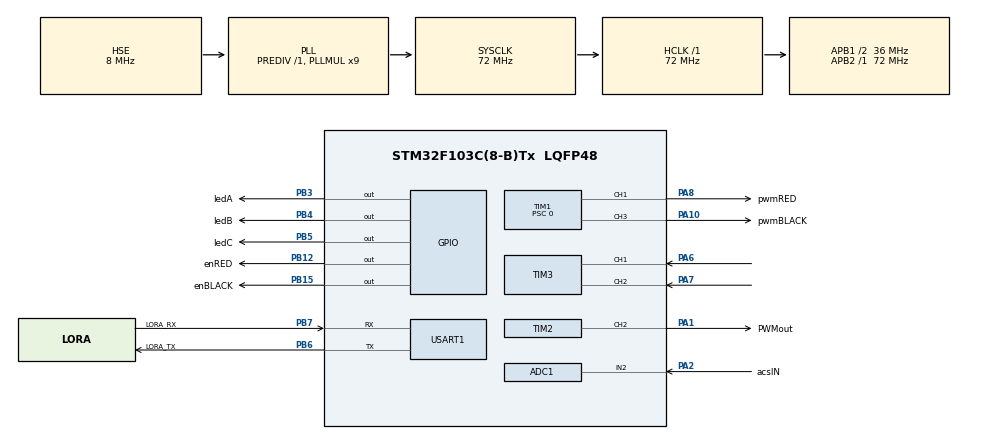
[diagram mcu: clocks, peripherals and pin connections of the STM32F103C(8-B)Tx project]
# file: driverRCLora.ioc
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ADC1.Channel-0\#ChannelRegularConversion=ADC_CHANNEL_VREFINT
ADC1.Channel-1\#ChannelRegularConversion=ADC_CHANNEL_TEMPSENSOR
ADC1.Channel-2\#ChannelRegularConversion=ADC_CHANNEL_2
ADC1.ContinuousConvMode=ENABLE
ADC1.NbrOfConversion=3
ADC1.NbrOfConversionFlag=1
ADC1.Rank-0\#ChannelRegularConversion=1
ADC1.Rank-1\#ChannelRegularConversion=2
ADC1.Rank-2\#ChannelRegularConversion=3
ADC1.SamplingTime-0\#ChannelRegularConversion=ADC_SAMPLETIME_239CYCLES_5
ADC1.SamplingTime-1\#ChannelRegularConversion=ADC_SAMPLETIME_239CYCLES_5
ADC1.SamplingTime-2\#ChannelRegularConversion=ADC_SAMPLETIME_239CYCLES_5
ADC1.master=1
Dma.ADC1.0.Direction=DMA_PERIPH_TO_MEMORY
Dma.ADC1.0.Instance=DMA1_Channel1
Dma.ADC1.0.MemDataAlignment=DMA_MDATAALIGN_WORD
Dma.ADC1.0.MemInc=DMA_MINC_ENABLE
Dma.ADC1.0.Mode=DMA_CIRCULAR
Dma.ADC1.0.PeriphDataAlignment=DMA_PDATAALIGN_WORD
Dma.ADC1.0.PeriphInc=DMA_PINC_DISABLE
Dma.ADC1.0.Priority=DMA_PRIORITY_LOW
Dma.Request0=ADC1
Dma.Request1=TIM1_CH1
Dma.Request2=TIM1_CH3
Dma.Request3=TIM2_CH2/CH4
Dma.Request4=USART1_RX
Dma.TIM1_CH1.1.Direction=DMA_MEMORY_TO_PERIPH
Dma.TIM1_CH1.1.Instance=DMA1_Channel2
Dma.TIM1_CH1.1.MemDataAlignment=DMA_MDATAALIGN_WORD
Dma.TIM1_CH1.1.MemInc=DMA_MINC_ENABLE
Dma.TIM1_CH1.1.Mode=DMA_CIRCULAR
Dma.TIM1_CH1.1.PeriphDataAlignment=DMA_PDATAALIGN_HALFWORD
Dma.TIM1_CH1.1.PeriphInc=DMA_PINC_DISABLE
Dma.TIM1_CH1.1.Priority=DMA_PRIORITY_LOW
Dma.TIM1_CH3.2.Direction=DMA_MEMORY_TO_PERIPH
Dma.TIM1_CH3.2.Instance=DMA1_Channel6
Dma.TIM1_CH3.2.MemDataAlignment=DMA_MDATAALIGN_WORD
Dma.TIM1_CH3.2.MemInc=DMA_MINC_ENABLE
Dma.TIM1_CH3.2.Mode=DMA_CIRCULAR
Dma.TIM1_CH3.2.PeriphDataAlignment=DMA_PDATAALIGN_HALFWORD
Dma.TIM1_CH3.2.PeriphInc=DMA_PINC_DISABLE
Dma.TIM1_CH3.2.Priority=DMA_PRIORITY_LOW
Dma.TIM2_CH2/CH4.3.Direction=DMA_MEMORY_TO_PERIPH
Dma.TIM2_CH2/CH4.3.Instance=DMA1_Channel7
Dma.TIM2_CH2/CH4.3.MemDataAlignment=DMA_MDATAALIGN_WORD
Dma.TIM2_CH2/CH4.3.MemInc=DMA_MINC_ENABLE
Dma.TIM2_CH2/CH4.3.Mode=DMA_CIRCULAR
Dma.TIM2_CH2/CH4.3.PeriphDataAlignment=DMA_PDATAALIGN_HALFWORD
Dma.TIM2_CH2/CH4.3.PeriphInc=DMA_PINC_DISABLE
Dma.TIM2_CH2/CH4.3.Priority=DMA_PRIORITY_LOW
Dma.USART1_RX.4.Direction=DMA_PERIPH_TO_MEMORY
Dma.USART1_RX.4.Instance=DMA1_Channel5
Dma.USART1_RX.4.MemDataAlignment=DMA_MDATAALIGN_BYTE
Dma.USART1_RX.4.MemInc=DMA_MINC_ENABLE
Dma.USART1_RX.4.Mode=DMA_CIRCULAR
Dma.USART1_RX.4.PeriphDataAlignment=DMA_PDATAALIGN_BYTE
Dma.USART1_RX.4.PeriphInc=DMA_PINC_DISABLE
Dma.USART1_RX.4.Priority=DMA_PRIORITY_LOW
Mcu.Family=STM32F1
Mcu.Name=STM32F103C(8-B)Tx
Mcu.Package=LQFP48
NVIC.DMA1_Channel1_IRQn=true\:0\:0\:false\:false\:true\:false\:true\:true
NVIC.DMA1_Channel2_IRQn=true\:0\:0\:false\:false\:true\:false\:true\:true
NVIC.DMA1_Channel5_IRQn=true\:0\:0\:false\:false\:true\:false\:true\:true
NVIC.DMA1_Channel6_IRQn=true\:0\:0\:false\:false\:true\:false\:true\:true
NVIC.DMA1_Channel7_IRQn=true\:0\:0\:false\:false\:true\:false\:true\:true
NVIC.PriorityGroup=NVIC_PRIORITYGROUP_4
NVIC.TIM4_IRQn=true\:2\:0\:true\:false\:true\:true\:true\:true
NVIC.USART1_IRQn=true\:0\:0\:false\:false\:true\:true\:true\:true
NimaLTD.I-CUBE-EE.3.2.2.DriverJjEE=true
PA1.GPIO_Label=PWMout
PA1.GPIO_Speed=GPIO_SPEED_FREQ_HIGH
PA1.Signal=S_TIM2_CH2
PA10.GPIO_Label=pwmBLACK
PA10.GPIO_Speed=GPIO_SPEED_FREQ_HIGH
PA10.Signal=S_TIM1_CH3
PA13.Mode=Serial_Wire
PA13.Signal=SYS_JTMS-SWDIO
PA14.Mode=Serial_Wire
PA14.Signal=SYS_JTCK-SWCLK
PA2.GPIO_Label=acsIN
PA2.Signal=ADCx_IN2
PA6.Signal=S_TIM3_CH1
PA7.Signal=S_TIM3_CH2
PA8.GPIO_Label=pwmRED
PA8.GPIO_Speed=GPIO_SPEED_FREQ_HIGH
PA8.Signal=S_TIM1_CH1
PB10.GPIO_Label=ADXL_SCL
PB10.Signal=I2C2_SCL
PB11.GPIO_Label=ADXL_SDA
PB11.Signal=I2C2_SDA
PB12.GPIO_Label=enRED
PB12.GPIO_Speed=GPIO_SPEED_FREQ_HIGH
PB12.Signal=GPIO_Output
PB15.GPIO_Label=enBLACK
PB15.GPIO_Speed=GPIO_SPEED_FREQ_HIGH
PB15.Signal=GPIO_Output
PB3.GPIO_Label=ledA
PB3.GPIO_PuPd=GPIO_PULLDOWN
PB3.GPIO_Speed=GPIO_SPEED_FREQ_HIGH
PB3.Signal=GPIO_Output
PB4.GPIO_Label=ledB
PB4.GPIO_PuPd=GPIO_PULLDOWN
PB4.GPIO_Speed=GPIO_SPEED_FREQ_HIGH
PB4.Signal=GPIO_Output
PB5.GPIO_Label=ledC
PB5.GPIO_PuPd=GPIO_PULLDOWN
PB5.GPIO_Speed=GPIO_SPEED_FREQ_HIGH
PB5.Signal=GPIO_Output
PB6.GPIO_Label=LORA_TX
PB6.Mode=Asynchronous
PB6.Signal=USART1_TX
PB7.GPIO_Label=LORA_RX
PB7.Mode=Asynchronous
PB7.Signal=USART1_RX
PD0-OSC_IN.Mode=HSE-External-Oscillator
PD0-OSC_IN.Signal=RCC_OSC_IN
PD1-OSC_OUT.Mode=HSE-External-Oscillator
PD1-OSC_OUT.Signal=RCC_OSC_OUT
ProjectManager.HeapSize=0x200
ProjectManager.StackSize=0x400
ProjectManager.TargetToolchain=STM32CubeIDE
RCC.ADCPresc=RCC_ADCPCLK2_DIV8
RCC.AHBFreq_Value=72000000
RCC.APB1CLKDivider=RCC_HCLK_DIV2
RCC.APB1Freq_Value=36000000
RCC.APB1TimFreq_Value=72000000
RCC.APB2Freq_Value=72000000
RCC.APB2TimFreq_Value=72000000
RCC.HCLKFreq_Value=72000000
RCC.PLLMUL=RCC_PLL_MUL9
RCC.PLLSourceVirtual=RCC_PLLSOURCE_HSE
RCC.SYSCLKFreq_VALUE=72000000
RCC.SYSCLKSource=RCC_SYSCLKSOURCE_PLLCLK
RCC.USBFreq_Value=72000000
SH.ADCx_IN2.0=ADC1_IN2,IN2
SH.S_TIM1_CH1.0=TIM1_CH1,PWM Generation1 CH1
SH.S_TIM1_CH3.0=TIM1_CH3,PWM Generation3 CH3
SH.S_TIM2_CH2.0=TIM2_CH2,PWM Generation2 CH2
SH.S_TIM3_CH1.0=TIM3_CH1,Encoder_Interface
SH.S_TIM3_CH2.0=TIM3_CH2,Encoder_Interface
TIM1.Channel-PWM\ Generation1\ CH1=TIM_CHANNEL_1
TIM1.Channel-PWM\ Generation3\ CH3=TIM_CHANNEL_3
TIM1.CounterMode=TIM_COUNTERMODE_UP
TIM1.Period=1999
TIM1.Prescaler=0
TIM2.Channel-PWM\ Generation2\ CH2=TIM_CHANNEL_2
TIM2.Period=20000-1
TIM2.Prescaler=72-1
TIM3.AutoReloadPreload=TIM_AUTORELOAD_PRELOAD_ENABLE
TIM3.EncoderMode=TIM_ENCODERMODE_TI12
TIM3.IC1Filter=2
TIM4.Period=10000-1
TIM4.Prescaler=72-1
USART1.VirtualMode=VM_ASYNC
VP_ADC1_TempSens_Input.Mode=IN-TempSens
VP_ADC1_Vref_Input.Mode=IN-Vrefint
VP_NimaLTD.I-CUBE-EE_VS_DriverJjEE_1.0.0_3.2.2.Mode=DriverJjEE
VP_TIM1_VS_ClockSourceINT.Mode=Internal
VP_TIM2_VS_ClockSourceINT.Mode=Internal
VP_TIM4_VS_ClockSourceINT.Mode=Internal
board=custom

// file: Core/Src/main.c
/* USER CODE BEGIN Header */
/**
  ******************************************************************************
  * @file           : main.c
  * @brief          : Main program body
  ******************************************************************************
  * @attention
  *
  * <h2><center>&copy; Copyright (c) 2025 STMicroelectronics.
  * All rights reserved.</center></h2>
  *
  * This software component is licensed by ST under Ultimate Liberty license
  * SLA0044, the "License"; You may not use this file except in compliance with
  * the License. You may obtain a copy of the License at:
  *                             www.st.com/SLA0044
  *
  ******************************************************************************
  */
/* USER CODE END Header */
#include "main.h"

/* USER CODE BEGIN Includes */
#include <string.h>
#include <math.h>
#include "myDef.h"
#include <stdlib.h>
/* USER CODE END Includes */

ADC_HandleTypeDef hadc1;
DMA_HandleTypeDef hdma_adc1;

TIM_HandleTypeDef htim1;
TIM_HandleTypeDef htim2;
TIM_HandleTypeDef htim3;
TIM_HandleTypeDef htim4;
DMA_HandleTypeDef hdma_tim1_ch1;
DMA_HandleTypeDef hdma_tim1_ch3;
DMA_HandleTypeDef hdma_tim2_ch2_ch4;

UART_HandleTypeDef huart1;
DMA_HandleTypeDef hdma_usart1_rx;

void SystemClock_Config(void);
static void MX_GPIO_Init(void);
static void MX_DMA_Init(void);
static void MX_TIM1_Init(void);
static void MX_TIM2_Init(void);
static void MX_ADC1_Init(void);
static void MX_TIM4_Init(void);
static void MX_USART1_UART_Init(void);
static void MX_TIM3_Init(void);

/* USER CODE BEGIN 0 */
/**
 * @brief Re-maps a number from one range to another.
 * @param x The number to be mapped.
 * @param in_min The lower bound of the input range.
 * @param in_max The upper bound of the input range.
 * @param out_min The lower bound of the output range.
 * @param out_max The upper bound of the output range.
 * @return The mapped value.
 */
long map(long x, long in_min, long in_max, long out_min, long out_max) {
  return (x - in_min) * (out_max - out_min) / (in_max - in_min) + out_min;
}

/**
 * @brief Re-maps a floating-point number from one range to another.
 * @param x The number to be mapped.
 * @param in_min The lower bound of the input range.
 * @param in_max The upper bound of the input range.
 * @param out_min The lower bound of the output range.
 * @param out_max The upper bound of the output range.
 * @return The mapped floating-point value.
 */
float mapf(float x, float in_min, float in_max, float out_min, float out_max) {
  return (x - in_min) * (out_max - out_min) / (in_max - in_min) + out_min;
}

float ComputePIDadpt(volatile PID_t *pid, const float measuredValue, const float dt) {
	// Calculate error
	float error = pid->setPoint - measuredValue;

	// Deadband (Optional: Prevents small oscillations)
	if (fabsf(error) < pid->deadband) {
		error = 0.0f;
	}

	// Proportional term
	float Pout = pid->Kp * error;

	// Integral term (PI and PID modes)
	float Iout = 0.0f;
	if ((pid->Ki > 0.0f)) {
		pid->integral += error * dt;
		Iout = pid->Ki * pid->integral;

	}

	// Derivative term (PD and PID modes)
	float Dout = 0.0f;
	if ((pid->Kd > 0.0f)) {
		float derivative = (error - pid->prevError) / dt;
		Dout = pid->Kd * derivative;
	}

	// Compute total output
	float output = Pout + Iout + Dout;

	// Apply output limits
	if (output > pid->maxOutput - pid->minOutput) {
		pid->integral = pid->lastIntegral;
		output = pid->maxOutput - pid->minOutput;
	} else {
		pid->lastIntegral = pid->integral;
	}
	if (output < 0)
		output = 0;

	// Store values for next iteration
	pid->prevError = error;

	return output + pid->minOutput;
}

void mootorSpeed(int16_t _speed) {
	if (_speed > motorSpeedMax) {
		_speed = motorSpeedMax;
	}
	if (_speed < motorSpeedMin) {
		_speed = motorSpeedMin;
	}

	if (_speed > 0) {
		motorMode = mMode_For;
		Speed = _speed;

	} else if (_speed < 0) {
		motorMode = mMode_back;
		Speed = _speed;

	} else if (_speed == 0) {
//		if (mSVelocity > brakeThrshld) {
//			motorMode = mMode_breaking;
//			breakingPower = _speed;
//			Speed = 0;
//		} else if (mSVelocity < brakeThrshldLow) {
			Speed = 0;
			motorMode = mMode_Stop;
//		}
	}
}

void HAL_TIM_PeriodElapsedCallback(TIM_HandleTypeDef *htim) {
	if (htim == &htim4) { //timer 100hz
		uint32_t currCNT = TIM3->CNT;
		int32_t delta = (int32_t) (currCNT - lastCNT); // menghindari overflow/underflow
		lastCNT = currCNT;
		dump1 = (float) delta / -28.0f;
		rps = dump1 / 0.01f;
		rpmMotor = rps * 60.0f;
		rpsWheel = rps / 10.28f;
		mmSVelocity = rpsWheel * 329.86722f;
		mSVelocity = mmSVelocity / 1000.0f;

		if (PID.setPoint == 0.0f) {
			PID.integral = 0.0f;
			PID.prevError = 0.0f;
			PID.lastIntegral = 0.0f;
			mootorSpeed(0);
		} else {

			if (receivedDataControl.dummy) {
				mootorSpeed(-(int16_t)ComputePIDadpt(&PID, -mSVelocity, 0.01f));
			} else {
				mootorSpeed((int16_t) ComputePIDadpt(&PID, mSVelocity, 0.01f));
			}

//			mootorSpeed((int16_t)ComputePIDadpt(&PID, mSVelocity, 0.01f));
		}
	}
}

void motorLOOP(void) {

//	if (Speed == 0) {
//		motorMode = zeroMode;
//	} else
//	if(Speed > 0){
//		motorMode = mMode_For;
//	}else if (Speed < 0) {
//		motorMode = mMode_back;
//	} else{
//		motorMode = mMode_Stop;
//	}

	switch (motorMode) {
	case mMode_Stop:
		val_pwmRED = 0;
		val_pwmBLACK = 0;

		clrIO(enBLACK_GPIO_Port,enBLACK_Pin);
		clrIO(enRED_GPIO_Port,enRED_Pin);
		break;
	case mMode_For:
		val_pwmRED = abs(Speed);
		val_pwmBLACK = 0;

		setIO(enBLACK_GPIO_Port, enBLACK_Pin);
		setIO(enRED_GPIO_Port, enRED_Pin);
		break;
	case mMode_back:
		val_pwmRED = 0;
		val_pwmBLACK = abs(Speed);

		setIO(enBLACK_GPIO_Port, enBLACK_Pin);
		setIO(enRED_GPIO_Port, enRED_Pin);
		break;
	case mMode_deAcsFor2stop:

		break;
	case mMode_deAcsBack2stop:

		break;
	case mMode_breaking:
		val_pwmRED = breakingPower;
		val_pwmBLACK = breakingPower;

		setIO(enBLACK_GPIO_Port, enBLACK_Pin);
		setIO(enRED_GPIO_Port, enRED_Pin);
		break;
	}
}

uint8_t chechOverlapIMU(uint8_t data){
	static uint8_t mode = 0;

	switch (mode) {
	case 0:
		if (data == 0x55) {
			mode = 1;
		}
		break;
	case 1:
		switch (data) {
		case 0x51:
			mode = 0;
			return 1;
			break;
		case 0x52:
			mode = 0;
			return 2;
			break;
		case 0x53:
			mode = 0;
			return 3;
			break;
		}

		break;
	}
	mode = 0;
	return 0;

}

void ADXL_Read(uint8_t reg, uint8_t *data, uint8_t size){

//	HAL_I2C_Mem_Read(&hi2c2, ADXL345_ADDR, reg, I2C_MEMADD_SIZE_8BIT, data, size,HAL_MAX_DELAY);
}

void ADXL_Write(uint8_t reg, uint8_t *data){
//	HAL_I2C_Mem_Write(&hi2c2, ADXL345_ADDR, reg, I2C_MEMADD_SIZE_8BIT, data, 1, HAL_MAX_DELAY);
}

void ADXL_setRegisterBit(uint8_t regAdress, uint8_t bitPos, uint8_t state) {
	uint8_t _b = 0;
//    readFrom(regAdress, 1, &_b);
    ADXL_Read(regAdress, &_b, 1);
    if (state) {
        _b |= (1 << bitPos);  // forces nth bit of _b to be 1.  all other bits left alone.
    } else {
        _b &= ~(1 << bitPos); // forces nth bit of _b to be 0.  all other bits left alone.
    }
    ADXL_Write(regAdress, &_b);
//    writeTo(regAdress, _b);
}
/* USER CODE END 0 */

int main(void)
{

  /* MCU Configuration--------------------------------------------------------*/

  /* Reset of all peripherals, Initializes the Flash interface and the Systick. */
  HAL_Init();

  /* Configure the system clock */
  SystemClock_Config();

  /* Initialize all configured peripherals */
  MX_GPIO_Init();
  MX_DMA_Init();
  MX_TIM1_Init();
  MX_TIM2_Init();
  MX_ADC1_Init();
  MX_TIM4_Init();
  MX_USART1_UART_Init();
  MX_TIM3_Init();
  /* USER CODE BEGIN 2 */

//  uint8_t devID = 0;
//  	do{
//  		ADXL_Read(DEVID_REG, &devID, 1);
//  		HAL_Delay(10);
//  	}while(devID != 0xE5);

	for (int i = 0; i < 5; ++i) {
		setIO(ledA_GPIO_Port, ledA_Pin);
		HAL_Delay(50);
		clrIO(ledA_GPIO_Port, ledA_Pin);
		HAL_Delay(50);

		setIO(ledB_GPIO_Port, ledB_Pin);
		HAL_Delay(50);
		clrIO(ledB_GPIO_Port, ledB_Pin);
		HAL_Delay(50);

		setIO(ledC_GPIO_Port, ledC_Pin);
		HAL_Delay(50);
		clrIO(ledC_GPIO_Port, ledC_Pin);
		HAL_Delay(50);
	}

//	ADXL_Write(POWER_CTL_REG, (uint8_t*)0b00000000); // StandBy Mode
//	HAL_Delay(50);
////
////	ADXL_Write(BW_RATE_REG, (uint8_t*)0b00001011); // bandwidht 100hz
//	ADXL_Write(DATA_FORMAT_REG, (uint8_t*)0b00001000); // Full Resolution
//	ADXL_Write(DATA_FORMAT_REG, (uint8_t*)0b00000011); // 16g, 10bit Data acording to range
////	ADXL_Write(DATA_FORMAT_REG, (uint8_t*)0b00001011); // All
//	ADXL_Write(DATA_FORMAT_REG, (uint8_t*)0b10000000); // Self test
//	HAL_Delay(50);
//
////	ADXL_Write(INT_ENABLE_REG, (uint8_t*)0b10000000); // Turn On DATA_READY
////	ADXL_Write(FIFO_CTL_REG, (uint8_t*)0b01000000); // Turn On FIFO Mode
//
////	ADXL_Write(DATA_FORMAT_REG, (uint8_t*)0b00000000); // 4g
////	ADXL_Write(DATA_FORMAT_REG, (uint8_t*)0b00000001); // Full Resolution
////	ADXL_Write(DATA_FORMAT_REG, (uint8_t*)0b00001010); // All
////	HAL_Delay(50);
//
//	ADXL_Write(INT_ENABLE_REG, (uint8_t*)0b10000000); // Turn On DATA_READY
//	HAL_Delay(50);
//
//	ADXL_Write(POWER_CTL_REG, (uint8_t*)0b00001000); // Mesuring Mode
//	HAL_Delay(50);

  HAL_TIM_PWM_Start_DMA(&htim1, TIM_CHANNEL_1, &val_pwmRED, 1);
  HAL_TIM_PWM_Start_DMA(&htim1, TIM_CHANNEL_3, &val_pwmBLACK, 1);
  HAL_TIM_PWM_Start_DMA(&htim2, TIM_CHANNEL_2, &val_pwmSERVO, 1);
  HAL_TIM_Base_Start_IT(&htim4);

  HAL_ADCEx_Calibration_Start(&hadc1);
  HAL_ADC_Start_DMA(&hadc1, valADC, totalADC);

//  HAL_UArt_
//  HAL_UART_Receive_IT(&huart1, &rx_byte, 1);
//  LL_
  HAL_UART_Receive_DMA(&huart1, rx_DMA_buff_LoRa, 6);

  HAL_TIM_Encoder_Start(&htim3, TIM_CHANNEL_ALL);

//  HAL_UART_Receive_DMA(&huart3, rx_DMA_buff_IMU, 15);

  /* USER CODE END 2 */

  /* Infinite loop */
  /* USER CODE BEGIN WHILE */
  while (1){
		if (sendTXbuff) {
			sendTXbuff = 0;
//			HAL_UART_Transmit(&huart3, tx_buffIMU, 3, 100);
		}

		uint32_t currTime = HAL_GetTick();
		if (currTime - kHzLoop >1) {

//			mootorSpeed(speedTest);
			motorLOOP();

			if (currTime - rxTime > rxTimeout) {
//				HAL_TIM_StateTypeDef temp =HAL_TIM_PWM_GetState(&htim2);
//				HAL_UART_AbortReceive_IT(&huart1);
//				HAL_Delay(50);
//				HAL_UART_Receive_IT(&huart1, &rx_byte, 1);
				retrying++;
//				HAL_UARTEx_ReceiveToIdle_IT(huart, pData, Size)
//				if (temp == HAL_TIM_STATE_BUSY) {
//					HAL_TIM_PWM_Stop_DMA(&htim2, TIM_CHANNEL_2);
//				}
			} else {
//				if (HAL_TIM_PWM_GetState(&htim2) == HAL_TIM_STATE_READY) {
//					HAL_UART_Receive_DMA(&huart3, rx_buff_IMU, dmaBufSize);
//				}
			}
		}

		if (currTime - slowLoop > 100) {

//			uint8_t x = 0;
//			ADXL_Read(INT_SOURCE_REG, &x, 1);
//			if (x & 128) {
//				if (!readIO(ledC_GPIO_Port, ledC_Pin))
//					setIO(ledC_GPIO_Port, ledC_Pin);
//				else
//					clrIO(ledC_GPIO_Port, ledC_Pin);
//			}else{
//				setIO(ledC_GPIO_Port, ledC_Pin);
//			}

//			uint8_t data[6];
//			memset(data, 0, sizeof(data));
//			ADXL_Read(DATA_REG, data, 6);
//			if (data[5]) {
//				if (!readIO(ledB_GPIO_Port, ledB_Pin))
//					setIO(ledB_GPIO_Port, ledB_Pin);
//				else
//					clrIO(ledB_GPIO_Port, ledB_Pin);
//
//				ADXL_Data.acc_X = (int16_t) ((data[1] << 8) | data[0]);
//				ADXL_Data.acc_Y = (int16_t) ((data[3] << 8) | data[2]);
//				ADXL_Data.acc_Z = (int16_t) ((data[5] << 8) | data[4]);
//
//				// Convert raw data to acceleration in m/s²
//				float ax = ADXL_Data.acc_X * SCALE_FACTOR;
//				float ay = ADXL_Data.acc_Y * SCALE_FACTOR;
//
//				// Combine acceleration vectors (X and Y only)
//				float a_total = sqrtf(ax * ax + ay * ay); // Magnitude of acceleration
//
//				// Integrate acceleration to get velocity (v = v + a * dt)
//				velocity_mps += a_total * DT;
//
//				// Convert to km/h
//				velocity_kmh = velocity_mps * 3.6f;
//			}

			slowLoop = currTime;

			//________________ ADC CAOMPUTING __________________________________
			ADCvalue.Vref = (float) ((V_REF_INT * 4095.0) / valADC[0]);
			ADCvalue.Vtemp = (float) (valADC[1] * ADCvalue.Vref) / 4095.0;
			ADCvalue.temp = (((V_AT_25C - ADCvalue.Vtemp) * 1000.0)
					/ AVG_SLOPE) + 25.0;
			ADCvalue.Vamp = (float) (valADC[2] * ADCvalue.Vref) / 4095.0;
			ADCvalue.V5amp = ADCvalue.Vamp
					* ((10000.0 + 20000.0) / 20000.0);
			ADCvalue.amp = (ADCvalue.V5amp - 2.5) / V_A;

			//_________________________________________________________________
		}
    /* USER CODE END WHILE */

	}
}

void SystemClock_Config(void)
{
  RCC_OscInitTypeDef RCC_OscInitStruct = {0};
  RCC_ClkInitTypeDef RCC_ClkInitStruct = {0};
  RCC_PeriphCLKInitTypeDef PeriphClkInit = {0};

  /** Initializes the RCC Oscillators according to the specified parameters
  * in the RCC_OscInitTypeDef structure.
  */
  RCC_OscInitStruct.OscillatorType = RCC_OSCILLATORTYPE_HSE;
  RCC_OscInitStruct.HSEState = RCC_HSE_ON;
  RCC_OscInitStruct.HSEPredivValue = RCC_HSE_PREDIV_DIV1;
  RCC_OscInitStruct.HSIState = RCC_HSI_ON;
  RCC_OscInitStruct.PLL.PLLState = RCC_PLL_ON;
  RCC_OscInitStruct.PLL.PLLSource = RCC_PLLSOURCE_HSE;
  RCC_OscInitStruct.PLL.PLLMUL = RCC_PLL_MUL9;
  if (HAL_RCC_OscConfig(&RCC_OscInitStruct) != HAL_OK)
  {
    Error_Handler();
  }
  /** Initializes the CPU, AHB and APB buses clocks
  */
  RCC_ClkInitStruct.ClockType = RCC_CLOCKTYPE_HCLK|RCC_CLOCKTYPE_SYSCLK
                              |RCC_CLOCKTYPE_PCLK1|RCC_CLOCKTYPE_PCLK2;
  RCC_ClkInitStruct.SYSCLKSource = RCC_SYSCLKSOURCE_PLLCLK;
  RCC_ClkInitStruct.AHBCLKDivider = RCC_SYSCLK_DIV1;
  RCC_ClkInitStruct.APB1CLKDivider = RCC_HCLK_DIV2;
  RCC_ClkInitStruct.APB2CLKDivider = RCC_HCLK_DIV1;

  if (HAL_RCC_ClockConfig(&RCC_ClkInitStruct, FLASH_LATENCY_2) != HAL_OK)
  {
    Error_Handler();
  }
  PeriphClkInit.PeriphClockSelection = RCC_PERIPHCLK_ADC;
  PeriphClkInit.AdcClockSelection = RCC_ADCPCLK2_DIV8;
  if (HAL_RCCEx_PeriphCLKConfig(&PeriphClkInit) != HAL_OK)
  {
    Error_Handler();
  }
}

static void MX_ADC1_Init(void)
{

  ADC_ChannelConfTypeDef sConfig = {0};

  /** Common config
  */
  hadc1.Instance = ADC1;
  hadc1.Init.ScanConvMode = ADC_SCAN_ENABLE;
  hadc1.Init.ContinuousConvMode = ENABLE;
  hadc1.Init.DiscontinuousConvMode = DISABLE;
  hadc1.Init.ExternalTrigConv = ADC_SOFTWARE_START;
  hadc1.Init.DataAlign = ADC_DATAALIGN_RIGHT;
  hadc1.Init.NbrOfConversion = 3;
  if (HAL_ADC_Init(&hadc1) != HAL_OK)
  {
    Error_Handler();
  }
  /** Configure Regular Channel
  */
  sConfig.Channel = ADC_CHANNEL_VREFINT;
  sConfig.Rank = ADC_REGULAR_RANK_1;
  sConfig.SamplingTime = ADC_SAMPLETIME_239CYCLES_5;
  if (HAL_ADC_ConfigChannel(&hadc1, &sConfig) != HAL_OK)
  {
    Error_Handler();
  }
  /** Configure Regular Channel
  */
  sConfig.Channel = ADC_CHANNEL_TEMPSENSOR;
  sConfig.Rank = ADC_REGULAR_RANK_2;
  if (HAL_ADC_ConfigChannel(&hadc1, &sConfig) != HAL_OK)
  {
    Error_Handler();
  }
  /** Configure Regular Channel
  */
  sConfig.Channel = ADC_CHANNEL_2;
  sConfig.Rank = ADC_REGULAR_RANK_3;
  if (HAL_ADC_ConfigChannel(&hadc1, &sConfig) != HAL_OK)
  {
    Error_Handler();
  }

}

static void MX_TIM1_Init(void)
{

  TIM_ClockConfigTypeDef sClockSourceConfig = {0};
  TIM_MasterConfigTypeDef sMasterConfig = {0};
  TIM_OC_InitTypeDef sConfigOC = {0};
  TIM_BreakDeadTimeConfigTypeDef sBreakDeadTimeConfig = {0};

  htim1.Instance = TIM1;
  htim1.Init.Prescaler = 0;
  htim1.Init.CounterMode = TIM_COUNTERMODE_UP;
  htim1.Init.Period = 1999;
  htim1.Init.ClockDivision = TIM_CLOCKDIVISION_DIV1;
  htim1.Init.RepetitionCounter = 0;
  htim1.Init.AutoReloadPreload = TIM_AUTORELOAD_PRELOAD_DISABLE;
  if (HAL_TIM_Base_Init(&htim1) != HAL_OK)
  {
    Error_Handler();
  }
  sClockSourceConfig.ClockSource = TIM_CLOCKSOURCE_INTERNAL;
  if (HAL_TIM_ConfigClockSource(&htim1, &sClockSourceConfig) != HAL_OK)
  {
    Error_Handler();
  }
  if (HAL_TIM_PWM_Init(&htim1) != HAL_OK)
  {
    Error_Handler();
  }
  sMasterConfig.MasterOutputTrigger = TIM_TRGO_RESET;
  sMasterConfig.MasterSlaveMode = TIM_MASTERSLAVEMODE_DISABLE;
  if (HAL_TIMEx_MasterConfigSynchronization(&htim1, &sMasterConfig) != HAL_OK)
  {
    Error_Handler();
  }
  sConfigOC.OCMode = TIM_OCMODE_PWM1;
  sConfigOC.Pulse = 0;
  sConfigOC.OCPolarity = TIM_OCPOLARITY_HIGH;
  sConfigOC.OCNPolarity = TIM_OCNPOLARITY_HIGH;
  sConfigOC.OCFastMode = TIM_OCFAST_DISABLE;
  sConfigOC.OCIdleState = TIM_OCIDLESTATE_RESET;
  sConfigOC.OCNIdleState = TIM_OCNIDLESTATE_RESET;
  if (HAL_TIM_PWM_ConfigChannel(&htim1, &sConfigOC, TIM_CHANNEL_1) != HAL_OK)
  {
    Error_Handler();
  }
  if (HAL_TIM_PWM_ConfigChannel(&htim1, &sConfigOC, TIM_CHANNEL_3) != HAL_OK)
  {
    Error_Handler();
  }
  sBreakDeadTimeConfig.OffStateRunMode = TIM_OSSR_DISABLE;
  sBreakDeadTimeConfig.OffStateIDLEMode = TIM_OSSI_DISABLE;
  sBreakDeadTimeConfig.LockLevel = TIM_LOCKLEVEL_OFF;
  sBreakDeadTimeConfig.DeadTime = 0;
  sBreakDeadTimeConfig.BreakState = TIM_BREAK_DISABLE;
  sBreakDeadTimeConfig.BreakPolarity = TIM_BREAKPOLARITY_HIGH;
  sBreakDeadTimeConfig.AutomaticOutput = TIM_AUTOMATICOUTPUT_DISABLE;
  if (HAL_TIMEx_ConfigBreakDeadTime(&htim1, &sBreakDeadTimeConfig) != HAL_OK)
  {
    Error_Handler();
  }
  HAL_TIM_MspPostInit(&htim1);

}

static void MX_TIM2_Init(void)
{

  TIM_ClockConfigTypeDef sClockSourceConfig = {0};
  TIM_MasterConfigTypeDef sMasterConfig = {0};
  TIM_OC_InitTypeDef sConfigOC = {0};

  htim2.Instance = TIM2;
  htim2.Init.Prescaler = 72-1;
  htim2.Init.CounterMode = TIM_COUNTERMODE_UP;
  htim2.Init.Period = 20000-1;
  htim2.Init.ClockDivision = TIM_CLOCKDIVISION_DIV1;
  htim2.Init.AutoReloadPreload = TIM_AUTORELOAD_PRELOAD_DISABLE;
  if (HAL_TIM_Base_Init(&htim2) != HAL_OK)
  {
    Error_Handler();
  }
  sClockSourceConfig.ClockSource = TIM_CLOCKSOURCE_INTERNAL;
  if (HAL_TIM_ConfigClockSource(&htim2, &sClockSourceConfig) != HAL_OK)
  {
    Error_Handler();
  }
  if (HAL_TIM_PWM_Init(&htim2) != HAL_OK)
  {
    Error_Handler();
  }
  sMasterConfig.MasterOutputTrigger = TIM_TRGO_RESET;
  sMasterConfig.MasterSlaveMode = TIM_MASTERSLAVEMODE_DISABLE;
  if (HAL_TIMEx_MasterConfigSynchronization(&htim2, &sMasterConfig) != HAL_OK)
  {
    Error_Handler();
  }
  sConfigOC.OCMode = TIM_OCMODE_PWM1;
  sConfigOC.Pulse = 0;
  sConfigOC.OCPolarity = TIM_OCPOLARITY_HIGH;
  sConfigOC.OCFastMode = TIM_OCFAST_DISABLE;
  if (HAL_TIM_PWM_ConfigChannel(&htim2, &sConfigOC, TIM_CHANNEL_2) != HAL_OK)
  {
    Error_Handler();
  }
  HAL_TIM_MspPostInit(&htim2);

}

static void MX_TIM3_Init(void)
{

  TIM_Encoder_InitTypeDef sConfig = {0};
  TIM_MasterConfigTypeDef sMasterConfig = {0};

  htim3.Instance = TIM3;
  htim3.Init.Prescaler = 0;
  htim3.Init.CounterMode = TIM_COUNTERMODE_UP;
  htim3.Init.Period = 65535;
  htim3.Init.ClockDivision = TIM_CLOCKDIVISION_DIV1;
  htim3.Init.AutoReloadPreload = TIM_AUTORELOAD_PRELOAD_ENABLE;
  sConfig.EncoderMode = TIM_ENCODERMODE_TI12;
  sConfig.IC1Polarity = TIM_ICPOLARITY_RISING;
  sConfig.IC1Selection = TIM_ICSELECTION_DIRECTTI;
  sConfig.IC1Prescaler = TIM_ICPSC_DIV1;
  sConfig.IC1Filter = 2;
  sConfig.IC2Polarity = TIM_ICPOLARITY_RISING;
  sConfig.IC2Selection = TIM_ICSELECTION_DIRECTTI;
  sConfig.IC2Prescaler = TIM_ICPSC_DIV1;
  sConfig.IC2Filter = 0;
  if (HAL_TIM_Encoder_Init(&htim3, &sConfig) != HAL_OK)
  {
    Error_Handler();
  }
  sMasterConfig.MasterOutputTrigger = TIM_TRGO_RESET;
  sMasterConfig.MasterSlaveMode = TIM_MASTERSLAVEMODE_DISABLE;
  if (HAL_TIMEx_MasterConfigSynchronization(&htim3, &sMasterConfig) != HAL_OK)
  {
    Error_Handler();
  }

}

static void MX_TIM4_Init(void)
{

  TIM_ClockConfigTypeDef sClockSourceConfig = {0};
  TIM_MasterConfigTypeDef sMasterConfig = {0};

  htim4.Instance = TIM4;
  htim4.Init.Prescaler = 72-1;
  htim4.Init.CounterMode = TIM_COUNTERMODE_UP;
  htim4.Init.Period = 10000-1;
  htim4.Init.ClockDivision = TIM_CLOCKDIVISION_DIV1;
  htim4.Init.AutoReloadPreload = TIM_AUTORELOAD_PRELOAD_DISABLE;
  if (HAL_TIM_Base_Init(&htim4) != HAL_OK)
  {
    Error_Handler();
  }
  sClockSourceConfig.ClockSource = TIM_CLOCKSOURCE_INTERNAL;
  if (HAL_TIM_ConfigClockSource(&htim4, &sClockSourceConfig) != HAL_OK)
  {
    Error_Handler();
  }
  sMasterConfig.MasterOutputTrigger = TIM_TRGO_RESET;
  sMasterConfig.MasterSlaveMode = TIM_MASTERSLAVEMODE_DISABLE;
  if (HAL_TIMEx_MasterConfigSynchronization(&htim4, &sMasterConfig) != HAL_OK)
  {
    Error_Handler();
  }

}

static void MX_USART1_UART_Init(void)
{

  huart1.Instance = USART1;
  huart1.Init.BaudRate = 115200;
  huart1.Init.WordLength = UART_WORDLENGTH_8B;
  huart1.Init.StopBits = UART_STOPBITS_1;
  huart1.Init.Parity = UART_PARITY_NONE;
  huart1.Init.Mode = UART_MODE_TX_RX;
  huart1.Init.HwFlowCtl = UART_HWCONTROL_NONE;
  huart1.Init.OverSampling = UART_OVERSAMPLING_16;
  if (HAL_UART_Init(&huart1) != HAL_OK)
  {
    Error_Handler();
  }

}

static void MX_DMA_Init(void)
{

  /* DMA controller clock enable */
  __HAL_RCC_DMA1_CLK_ENABLE();

  /* DMA interrupt init */
  /* DMA1_Channel1_IRQn interrupt configuration */
  HAL_NVIC_SetPriority(DMA1_Channel1_IRQn, 0, 0);
  HAL_NVIC_EnableIRQ(DMA1_Channel1_IRQn);
  /* DMA1_Channel2_IRQn interrupt configuration */
  HAL_NVIC_SetPriority(DMA1_Channel2_IRQn, 0, 0);
  HAL_NVIC_EnableIRQ(DMA1_Channel2_IRQn);
  /* DMA1_Channel5_IRQn interrupt configuration */
  HAL_NVIC_SetPriority(DMA1_Channel5_IRQn, 0, 0);
  HAL_NVIC_EnableIRQ(DMA1_Channel5_IRQn);
  /* DMA1_Channel6_IRQn interrupt configuration */
  HAL_NVIC_SetPriority(DMA1_Channel6_IRQn, 0, 0);
  HAL_NVIC_EnableIRQ(DMA1_Channel6_IRQn);
  /* DMA1_Channel7_IRQn interrupt configuration */
  HAL_NVIC_SetPriority(DMA1_Channel7_IRQn, 0, 0);
  HAL_NVIC_EnableIRQ(DMA1_Channel7_IRQn);

}

static void MX_GPIO_Init(void)
{
  GPIO_InitTypeDef GPIO_InitStruct = {0};

  /* GPIO Ports Clock Enable */
  __HAL_RCC_GPIOD_CLK_ENABLE();
  __HAL_RCC_GPIOA_CLK_ENABLE();
  __HAL_RCC_GPIOB_CLK_ENABLE();

  /*Configure GPIO pin Output Level */
  HAL_GPIO_WritePin(GPIOB, enRED_Pin|enBLACK_Pin|ledA_Pin|ledB_Pin
                          |ledC_Pin, GPIO_PIN_RESET);

  /*Configure GPIO pins : ADXL_SCL_Pin ADXL_SDA_Pin */
  GPIO_InitStruct.Pin = ADXL_SCL_Pin|ADXL_SDA_Pin;
  GPIO_InitStruct.Mode = GPIO_MODE_AF_OD;
  GPIO_InitStruct.Speed = GPIO_SPEED_FREQ_HIGH;
  HAL_GPIO_Init(GPIOB, &GPIO_InitStruct);

  /*Configure GPIO pins : enRED_Pin enBLACK_Pin */
  GPIO_InitStruct.Pin = enRED_Pin|enBLACK_Pin;
  GPIO_InitStruct.Mode = GPIO_MODE_OUTPUT_PP;
  GPIO_InitStruct.Pull = GPIO_NOPULL;
  GPIO_InitStruct.Speed = GPIO_SPEED_FREQ_HIGH;
  HAL_GPIO_Init(GPIOB, &GPIO_InitStruct);

  /*Configure GPIO pins : ledA_Pin ledB_Pin ledC_Pin */
  GPIO_InitStruct.Pin = ledA_Pin|ledB_Pin|ledC_Pin;
  GPIO_InitStruct.Mode = GPIO_MODE_OUTPUT_PP;
  GPIO_InitStruct.Pull = GPIO_PULLDOWN;
  GPIO_InitStruct.Speed = GPIO_SPEED_FREQ_HIGH;
  HAL_GPIO_Init(GPIOB, &GPIO_InitStruct);

}

/* USER CODE BEGIN 4 */
void moveDataToStructPID(uint8_t *rx_buff_LoRa, sendPID_t *send_data) {
	send_data->index = rx_buff_LoRa[0];
	send_data->identifier = rx_buff_LoRa[1];

	send_data->_stearing = ((uint16_t) (rx_buff_LoRa[3] & 0xF) << 8)
			| rx_buff_LoRa[2];
	send_data->_setPoint = ((uint16_t) rx_buff_LoRa[4] << 4)
			| (rx_buff_LoRa[3] >> 4);
	send_data->_propotional = ((uint16_t) (rx_buff_LoRa[6] & 0xF) << 8)
			| rx_buff_LoRa[5];
	send_data->_integral = ((uint16_t) rx_buff_LoRa[7] << 4)
			| (rx_buff_LoRa[6] >> 4);
	send_data->_derivative = ((uint16_t) (rx_buff_LoRa[9] & 0xF) << 8)
			| rx_buff_LoRa[8];
	send_data->checkSum = ((uint16_t) rx_buff_LoRa[10] << 4)
			| (rx_buff_LoRa[9] >> 4);
}

void moveDataToStructControl(uint8_t *rx_buff_LoRa, sendControl_t *send_data) {
	send_data->index = rx_buff_LoRa[0];
	send_data->indetifier = rx_buff_LoRa[1];

	send_data->_stearing = ((uint16_t) (rx_buff_LoRa[3] & 0xF) << 8)
			| rx_buff_LoRa[2];
	send_data->_setPoint = ((uint16_t) rx_buff_LoRa[4] << 4)
			| (rx_buff_LoRa[3] >> 4);
	send_data->dummy = ((uint16_t) rx_buff_LoRa[5] & 0xF);
	send_data->checkSum = ((uint16_t) rx_buff_LoRa[6] << 4)
			| (rx_buff_LoRa[5] >> 4);
}

void HAL_UART_RxCpltCallback(UART_HandleTypeDef *huart) {
//	HAL_UART_Receive_DMA(&huart1, rx_buff_IMU, 11); //You need to toggle a breakpoint on this line!
	if (huart == &huart1) {
		uint32_t currTime = HAL_GetTick();
//		if (!readIO(ledA_GPIO_Port, ledA_Pin))
//			setIO(ledA_GPIO_Port, ledA_Pin);
//		else
//			clrIO(ledA_GPIO_Port, ledA_Pin);

//		if (rx_buff_LoRa[0] == signiture1) {
//			if (rx_buff_LoRa[1] == 0x36) {
//				if (!readIO(ledA_GPIO_Port, ledA_Pin))
//					setIO(ledA_GPIO_Port, ledA_Pin);
//				else
//					clrIO(ledA_GPIO_Port, ledA_Pin);
//			}
//		}

		for (int i = 0; i < 6; ++i) {
			switch (captureMode) {
			case 0:
				if (rx_DMA_buff_LoRa[i] == signiture1) {
					rx_buff_LoRa[0] = rx_DMA_buff_LoRa[i];
					captureMode = 1;
				}
				break;
			case 1:
				if (rx_DMA_buff_LoRa[i] == signiture2) {
					rx_buff_LoRa[1] = rx_DMA_buff_LoRa[i];
					captureMode = 2;
					currIndex = 2;
				} else if (rx_DMA_buff_LoRa[i] == 0x36) {
					rx_buff_LoRa[1] = rx_DMA_buff_LoRa[i];
					captureMode = 3;
					currIndex = 2;
				} else {
					captureMode = 1;
				}
				break;
			case 2:
				rx_buff_LoRa[currIndex] = rx_DMA_buff_LoRa[i];
				// update time saat sudah menerima data
				rxTime = currTime;
				currIndex++;

				if (currIndex > 10) {
					currIndex = 2;
					moveDataToStructPID(rx_buff_LoRa, &receivedDataPID);

					uint16_t checkSum = 0;
					checkSum += receivedDataPID.index;
					checkSum += receivedDataPID.identifier;
					checkSum += receivedDataPID._stearing;
					checkSum += receivedDataPID._setPoint;
					checkSum += receivedDataPID._derivative;
					checkSum += receivedDataPID._integral;
					checkSum += receivedDataPID._propotional;

					//				val_pwmSERVO = map(receivedDataPID._stearing, 50, 4045, leftPos, rightPos);

					checkSum &= 0xFFF;
					if (receivedDataPID.checkSum == checkSum) {
						correctData++;

						PID.Kp = mapf((float)receivedDataPID._propotional, 0.0, 4095.0, 0.0, 2000.0);
						PID.Ki = mapf((float)receivedDataPID._integral, 0.0, 4095.0, 0.0, 2000.0);
						PID.Kd = mapf((float)receivedDataPID._derivative, 0.0, 4095.0, 0.0, 2000.0);
					}
					captureMode = 1;
				}
				break;
			case 3:
				rx_buff_LoRa[currIndex] = rx_DMA_buff_LoRa[i];
				// update time saat sudah menerima data
				rxTime = currTime;
				currIndex++;

				if (currIndex > 6) {
					currIndex = 2;
					moveDataToStructControl(rx_buff_LoRa, &receivedDataControl);

					uint16_t checkSum = 0;
					checkSum += receivedDataControl.index;
					checkSum += receivedDataControl.indetifier;
					checkSum += receivedDataControl._stearing;
					checkSum += receivedDataControl._setPoint;
					checkSum += receivedDataControl.dummy;

					checkSum &= 0xFFF;
					if (receivedDataControl.checkSum == checkSum) {
						correctData++;

						if (!readIO(ledA_GPIO_Port, ledA_Pin))
							setIO(ledA_GPIO_Port, ledA_Pin);
						else
							clrIO(ledA_GPIO_Port, ledA_Pin);

						val_pwmSERVO = map(receivedDataControl._stearing, 500,
								4095 - 500, leftPos, rightPos);
						PID.setPoint = mapf((float)receivedDataControl._setPoint, 0.0, 4095.0, 0.0, 4.0);

//						if (receivedDataControl.dummy) {
//							val_pwmRED = 0;
//							val_pwmBLACK = map(receivedDataControl._setPoint, 0,
//									4095, 0, 2000);
//							setIO(enBLACK_GPIO_Port, enBLACK_Pin);
//							setIO(enRED_GPIO_Port, enRED_Pin);
//						} else {
//							val_pwmRED = map(receivedDataControl._setPoint, 0,
//									4095, 0, 2000);
//							val_pwmBLACK = 0;
//							setIO(enBLACK_GPIO_Port, enBLACK_Pin);
//							setIO(enRED_GPIO_Port, enRED_Pin);
//						}
//
//						if (receivedDataControl._setPoint == 0) {
//							clrIO(enBLACK_GPIO_Port, enBLACK_Pin);
//							clrIO(enRED_GPIO_Port, enRED_Pin);
//						}

						controlInterval = currTime - lastControlTime;
						lastControlTime = currTime;
					}
					captureMode = 1;
				}
				break;
			}
		}

//		switch (captureMode) {
//		case 0:
//			if (rx_byte == signiture1) {
//				rx_buff_LoRa[0] = rx_byte;
//				captureMode = 1;
//			}
//			break;
//		case 1:
//			if (rx_byte == signiture2) {
//				rx_buff_LoRa[1] = rx_byte;
//				captureMode = 2;
//				currIndex = 2;
//			} else if (rx_byte == 0x36) {
//				rx_buff_LoRa[1] = rx_byte;
//				captureMode = 3;
//				currIndex = 2;
//			} else {
//				captureMode = 1;
//			}
//			break;
//		case 2:
//			rx_buff_LoRa[currIndex] = rx_byte;
//			// update time saat sudah menerima data
//			rxTime = currTime;
//			currIndex++;
//
//			if (currIndex > 10) {
//				currIndex = 2;
//				moveDataToStructPID(rx_buff_LoRa, &receivedDataPID);
//
//				uint16_t checkSum = 0;
//				checkSum += receivedDataPID.index;
//				checkSum += receivedDataPID.identifier;
//				checkSum += receivedDataPID._stearing;
//				checkSum += receivedDataPID._setPoint;
//				checkSum += receivedDataPID._derivative;
//				checkSum += receivedDataPID._integral;
//				checkSum += receivedDataPID._propotional;
//
////				val_pwmSERVO = map(receivedDataPID._stearing, 50, 4045, leftPos, rightPos);
//
//				checkSum &= 0xFFF;
//				if (receivedDataPID.checkSum == checkSum) {
//					correctData++;
//				}
//				captureMode = 1;
//			}
//			break;
//		case 3:
//			rx_buff_LoRa[currIndex] = rx_byte;
//			// update time saat sudah menerima data
//			rxTime = currTime;
//			currIndex++;
//
//			if (currIndex > 6) {
//				currIndex = 2;
//				moveDataToStructControl(rx_buff_LoRa, &receivedDataControl);
//
//				uint16_t checkSum = 0;
//				checkSum += receivedDataControl.index;
//				checkSum += receivedDataControl.indetifier;
//				checkSum += receivedDataControl._stearing;
//				checkSum += receivedDataControl._setPoint;
//				checkSum += receivedDataControl.dummy;
//
//				val_pwmSERVO = map(receivedDataControl._stearing, 500, 4095-500, leftPos, rightPos);
//
//				checkSum &= 0xFFF;
//				if (receivedDataControl.checkSum == checkSum) {
//					correctData++;
//				}
//				captureMode = 1;
//			}
//			break;
//		}
//
//		if (!stopReceive) {
//			curreErrorUARTRceive = HAL_UART_Receive_IT(&huart1, &rx_byte, 1);
////			UART
//			if (curreErrorUARTRceive != HAL_OK) {
//				stopReceive = 1;
//			}
//		}
	}

	if (0) {
//		uint32_t currTime = HAL_GetTick();
//		memcpy(&rx_main_IMU[])

//		if (rx_buff_IMU[0] != 0x55 || !sync) {
//			static uint8_t headerIndex = 0;
//			for (int i = 0; i < 11; ++i) {
//				if (rx_buff_IMU[i] == 0x55) {
//					headerIndex = i;
//					sync = 0;
//
//					break;
//				}
//			}
//		}else{
//			//parse
//		}
//		break;

		for (int i = 0; i < 15; ++i) {
			switch (captureModeIMU) {
			case 0:
				if (rx_DMA_buff_IMU[i] == 0x55) {
					rx_buff_IMU[0] = rx_DMA_buff_IMU[i];
					captureModeIMU = 1;
				}
				break;
			case 1:
				if (rx_DMA_buff_IMU[i] == 0x51) {
					rx_buff_IMU[1] = rx_DMA_buff_IMU[i];
					captureModeIMU = 2;
					currIndexIMU = 2;
				} else if (rx_DMA_buff_IMU[i] == 0x52) {
					rx_buff_IMU[1] = rx_DMA_buff_IMU[i];
					captureModeIMU = 3;
					currIndexIMU = 2;
				} else if (rx_DMA_buff_IMU[i] == 0x53) {
					rx_buff_IMU[1] = rx_DMA_buff_IMU[i];
					captureModeIMU = 4;
					currIndexIMU = 2;
				} else {
					captureModeIMU = 1;
				}
				break;
			case 2:
				rx_buff_IMU[currIndexIMU] = rx_DMA_buff_IMU[i];
				currIndexIMU++;

				switch (chechOverlapIMU(rx_DMA_buff_IMU[i])) {
				case 1:
					rx_buff_IMU[0] = 0x55;
					rx_buff_IMU[1] = 0x51;
					currIndexIMU = 2;
					reLocation++;
					captureModeIMU = 2;
					break;
				case 2:
					rx_buff_IMU[0] = 0x55;
					rx_buff_IMU[1] = 0x52;
					currIndexIMU = 2;
					reLocation++;
					captureModeIMU = 3;
					break;
				case 3:
					rx_buff_IMU[0] = 0x55;
					rx_buff_IMU[1] = 0x53;
					currIndexIMU = 2;
					reLocation++;
					captureModeIMU = 4;
					break;
				}

				if (currIndexIMU > 11) {
					currIndexIMU = 2;

					uint16_t sum = 0;
					for (int x = 0; x < 10; ++x) {
						sum+=rx_buff_IMU[x];
					}

					if ((uint8_t) (sum & 0xFF) == rx_buff_IMU[10]) {
						AccelerationCount++;
						int16_t ax_raw = (rx_buff_IMU[3] << 8) | rx_buff_IMU[2];
						int16_t ay_raw = (rx_buff_IMU[5] << 8) | rx_buff_IMU[4];
						int16_t az_raw = (rx_buff_IMU[7] << 8) | rx_buff_IMU[6];
						int16_t temp_raw = (rx_buff_IMU[9] << 8)
								| rx_buff_IMU[8];

						acc.acc_x_g = (float) ax_raw / 32768.0f * 16.0f;
						acc.acc_y_g = (float) ay_raw / 32768.0f * 16.0f;
						acc.acc_z_g = (float) az_raw / 32768.0f * 16.0f;
						acc.acc_total_g = sqrt(
								(acc.acc_x_g * acc.acc_x_g)
										+ (acc.acc_y_g * acc.acc_y_g)
//										+ (acc.acc_z_g * acc.acc_z_g)
										);
//						acc.acc_total_g -= 1.0f;
						acc.acc_total_ms = acc.acc_total_g * Gs;
						acc.temperature_c = ((float) temp_raw / 32768.0f)
								* 96.36f + 36.53f;

						if (!readIO(ledB_GPIO_Port, ledB_Pin))
									setIO(ledB_GPIO_Port, ledB_Pin);
								else
									clrIO(ledB_GPIO_Port, ledB_Pin);
				}

					captureModeIMU = 1;
				}
				break;
			case 3:
				rx_buff_IMU[currIndexIMU] = rx_DMA_buff_IMU[i];
				currIndexIMU++;

				switch (chechOverlapIMU(rx_DMA_buff_IMU[i])) {
				case 1:
					rx_buff_IMU[0] = 0x55;
					rx_buff_IMU[1] = 0x51;
					currIndexIMU = 2;
					reLocation++;
					captureModeIMU = 2;
					break;
				case 2:
					rx_buff_IMU[0] = 0x55;
					rx_buff_IMU[1] = 0x52;
					currIndexIMU = 2;
					reLocation++;
					captureModeIMU = 3;
					break;
				case 3:
					rx_buff_IMU[0] = 0x55;
					rx_buff_IMU[1] = 0x53;
					currIndexIMU = 2;
					reLocation++;
					captureModeIMU = 4;
					break;
				}

				if (currIndexIMU > 11) {
					currIndexIMU = 2;

					captureModeIMU = 1;
				}
				break;
			case 4:
				rx_buff_IMU[currIndexIMU] = rx_DMA_buff_IMU[i];
				currIndexIMU++;

				switch (chechOverlapIMU(rx_DMA_buff_IMU[i])) {
				case 1:
					rx_buff_IMU[0] = 0x55;
					rx_buff_IMU[1] = 0x51;
					currIndexIMU = 2;
					reLocation++;
					captureModeIMU = 2;
					break;
				case 2:
					rx_buff_IMU[0] = 0x55;
					rx_buff_IMU[1] = 0x52;
					currIndexIMU = 2;
					reLocation++;
					captureModeIMU = 3;
					break;
				case 3:
					rx_buff_IMU[0] = 0x55;
					rx_buff_IMU[1] = 0x53;
					currIndexIMU = 2;
					reLocation++;
					captureModeIMU = 4;
					break;
				}

				if (currIndexIMU > 11) {
					currIndexIMU = 2;

					captureModeIMU = 1;
				}
				break;
			}
		}

//		uint16_t sum = 0;
//		for (int8_t i = 0; i < 10; i++) {
//			sum += rx_buff_IMU[i];
//		}
//
//		if ((uint8_t) (sum & 0xFF) == rx_buff_IMU[10]) {
//			if (!readIO(ledB_GPIO_Port, ledB_Pin))
//				setIO(ledB_GPIO_Port, ledB_Pin);
//			else
//				clrIO(ledB_GPIO_Port, ledB_Pin);
//
//			if (rx_buff_IMU[0] == 0x55) {
//				switch (rx_buff_IMU[1]) {
//				case 0x51:
//					AccelerationCount++;
//
//					int16_t ax_raw = (rx_buff_IMU[3] << 8) | rx_buff_IMU[2];
//					int16_t ay_raw = (rx_buff_IMU[5] << 8) | rx_buff_IMU[4];
//					int16_t az_raw = (rx_buff_IMU[7] << 8) | rx_buff_IMU[6];
//					int16_t temp_raw = (rx_buff_IMU[9] << 8) | rx_buff_IMU[8];
//
//					acc.acc_x_g = (float)ax_raw / 32768.0f * 16.0f;
//					acc.acc_y_g = (float)ay_raw / 32768.0f * 16.0f;
//					acc.acc_z_g = (float)az_raw / 32768.0f * 16.0f;
////					acc.acc_z_g = ((float)az_raw / 32768.0f * 16.0f)-1.0f;
//					acc.acc_total_g = sqrt((acc.acc_x_g * acc.acc_x_g) + (acc.acc_y_g * acc.acc_y_g) + (acc.acc_z_g * acc.acc_z_g));
//					acc.acc_total_ms = acc.acc_total_g * Gs;
//					acc.temperature_c = ((float)temp_raw / 32768.0f) * 96.36f + 36.53f;
//					break;
//				case 0x52:
//					AngularVelocityCount++;
//
//					int16_t gx_raw = (rx_buff_IMU[3] << 8) | rx_buff_IMU[2];
//					int16_t gy_raw = (rx_buff_IMU[5] << 8) | rx_buff_IMU[4];
//					int16_t gz_raw = (rx_buff_IMU[7] << 8) | rx_buff_IMU[6];
//					int16_t volt_raw = (rx_buff_IMU[9] << 8) | rx_buff_IMU[8];
//
//					gyro.gyro_x_dps = (float)gx_raw / 32768.0f * 2000.0f;
//					gyro.gyro_y_dps = (float)gy_raw / 32768.0f * 2000.0f;
//					gyro.gyro_z_dps = (float)gz_raw / 32768.0f * 2000.0f;
//					gyro.voltage_v = (float)volt_raw / 100.0f;
//					break;
//				case 0x53:
//					AngleCount++;
//
//					int16_t roll_raw = (rx_buff_IMU[3] << 8) | rx_buff_IMU[2];
//					int16_t pitch_raw = (rx_buff_IMU[5] << 8) | rx_buff_IMU[4];
//					int16_t yaw_raw = (rx_buff_IMU[7] << 8) | rx_buff_IMU[6];
//					uint16_t version_raw = (rx_buff_IMU[9] << 8) | rx_buff_IMU[8];
//
//					angle.roll_deg = (float)roll_raw / 32768.0f * 180.0f;
//					angle.pitch_deg = (float)pitch_raw / 32768.0f * 180.0f;
//					angle.yaw_deg = (float)yaw_raw / 32768.0f * 180.0f;
//					angle.version = version_raw;
//					break;
//				}
//			}
//		}
	}
//	HAL_UART_Receive_DMA(&huart1, rx_buff_IMU, 11); //You need to toggle a breakpoint on this line!
}

//void HAL_UART_RxHalfCpltCallback(UART_HandleTypeDef *huart){
//	if (huart == &huart3) {
//		haltCallUART3++;
//	}
//}
/* USER CODE END 4 */

void Error_Handler(void)
{
  __disable_irq();
  while (1)
  {
  }
}

/************************ (C) COPYRIGHT STMicroelectronics *****END OF FILE****/
